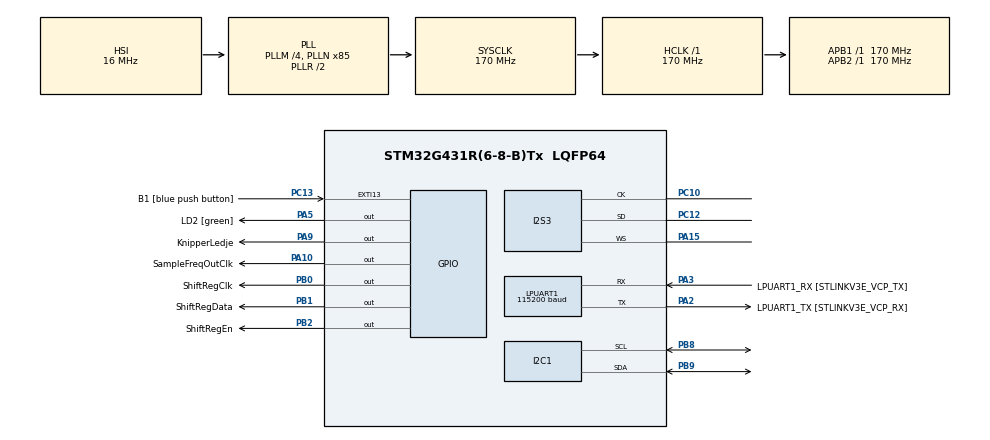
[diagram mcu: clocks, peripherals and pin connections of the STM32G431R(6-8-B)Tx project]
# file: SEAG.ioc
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Dma.Request0=SPI3_RX
Dma.SPI3_RX.0.Direction=DMA_PERIPH_TO_MEMORY
Dma.SPI3_RX.0.EventEnable=DISABLE
Dma.SPI3_RX.0.Instance=DMA1_Channel1
Dma.SPI3_RX.0.MemDataAlignment=DMA_MDATAALIGN_WORD
Dma.SPI3_RX.0.MemInc=DMA_MINC_ENABLE
Dma.SPI3_RX.0.Mode=DMA_CIRCULAR
Dma.SPI3_RX.0.PeriphDataAlignment=DMA_PDATAALIGN_WORD
Dma.SPI3_RX.0.PeriphInc=DMA_PINC_DISABLE
Dma.SPI3_RX.0.Polarity=HAL_DMAMUX_REQ_GEN_RISING
Dma.SPI3_RX.0.Priority=DMA_PRIORITY_VERY_HIGH
Dma.SPI3_RX.0.RequestNumber=1
Dma.SPI3_RX.0.SignalID=NONE
Dma.SPI3_RX.0.SyncEnable=DISABLE
Dma.SPI3_RX.0.SyncPolarity=HAL_DMAMUX_SYNC_NO_EVENT
Dma.SPI3_RX.0.SyncRequestNumber=1
Dma.SPI3_RX.0.SyncSignalID=NONE
I2C1.I2C_Fall_Time=0
I2C1.I2C_Rise_Time=0
I2C1.Timing=0x30A0A7FB
I2S3.AudioFreq=I2S_AUDIOFREQ_44K
I2S3.CPOL=I2S_CPOL_LOW
I2S3.DataFormat=I2S_DATAFORMAT_24B
I2S3.ErrorAudioFreq=0.61 %
I2S3.FullDuplexMode=I2S_FULLDUPLEXMODE_DISABLE
I2S3.Instance=SPI$Index
I2S3.Mode=I2S_MODE_MASTER_RX
I2S3.RealAudioFreq=44.27 KHz
I2S3.VirtualMode=I2S_MODE_MASTER
LPUART1.BaudRate=115200
LPUART1.WordLength=UART_WORDLENGTH_8B
Mcu.Family=STM32G4
Mcu.Name=STM32G431R(6-8-B)Tx
Mcu.Package=LQFP64
NVIC.DMA1_Channel1_IRQn=true\:0\:0\:false\:false\:true\:false\:true\:true
NVIC.PriorityGroup=NVIC_PRIORITYGROUP_4
PA10.GPIO_Label=SampleFreqOutClk
PA10.Signal=GPIO_Output
PA13.GPIO_Label=T_SWDIO
PA13.Mode=Serial_Wire
PA13.Signal=SYS_JTMS-SWDIO
PA14.GPIO_Label=T_SWCLK
PA14.Mode=Serial_Wire
PA14.Signal=SYS_JTCK-SWCLK
PA15.Mode=Half_Duplex_Master
PA15.Signal=I2S3_WS
PA2.GPIO_Label=LPUART1_TX [STLINKV3E_VCP_RX]
PA2.Mode=Asynchronous
PA2.Signal=LPUART1_TX
PA3.GPIO_Label=LPUART1_RX [STLINKV3E_VCP_TX]
PA3.Mode=Asynchronous
PA3.Signal=LPUART1_RX
PA5.GPIO_Label=LD2 [green]
PA5.Signal=GPIO_Output
PA9.GPIO_Label=KnipperLedje
PA9.Signal=GPIO_Output
PB0.GPIO_Label=ShiftRegClk
PB0.Signal=GPIO_Output
PB1.GPIO_Label=ShiftRegData
PB1.Signal=GPIO_Output
PB2.GPIO_Label=ShiftRegEn
PB2.Signal=GPIO_Output
PB8-BOOT0.Mode=I2C
PB8-BOOT0.Signal=I2C1_SCL
PB9.Mode=I2C
PB9.Signal=I2C1_SDA
PC10.Mode=Half_Duplex_Master
PC10.Signal=I2S3_CK
PC12.Mode=Half_Duplex_Master
PC12.Signal=I2S3_SD
PC13.GPIO_Label=B1 [blue push button]
PC13.Signal=GPXTI13
PC14-OSC32_IN.Mode=LSE-External-Oscillator
PC14-OSC32_IN.Signal=RCC_OSC32_IN
PC15-OSC32_OUT.Mode=LSE-External-Oscillator
PC15-OSC32_OUT.Signal=RCC_OSC32_OUT
PF0-OSC_IN.Mode=HSE-External-Oscillator
PF0-OSC_IN.Signal=RCC_OSC_IN
PF1-OSC_OUT.Mode=HSE-External-Oscillator
PF1-OSC_OUT.Signal=RCC_OSC_OUT
ProjectManager.HeapSize=0x200
ProjectManager.StackSize=0x400
ProjectManager.TargetToolchain=STM32CubeIDE
RCC.ADC12Freq_Value=170000000
RCC.AHBFreq_Value=170000000
RCC.APB1Freq_Value=170000000
RCC.APB1TimFreq_Value=170000000
RCC.APB2Freq_Value=170000000
RCC.APB2TimFreq_Value=170000000
RCC.CortexFreq_Value=170000000
RCC.EXTERNAL_CLOCK_VALUE=12288000
RCC.HCLKFreq_Value=170000000
RCC.HSE_VALUE=24000000
RCC.HSI48_VALUE=48000000
RCC.HSI_VALUE=16000000
RCC.PLLM=RCC_PLLM_DIV4
RCC.PLLN=85
RCC.RTCClockSelection=RCC_RTCCLKSOURCE_LSE
RCC.SYSCLKFreq_VALUE=170000000
RCC.SYSCLKSource=RCC_SYSCLKSOURCE_PLLCLK
RCC.USBFreq_Value=170000000
RCC.VCOOutputFreq_Value=340000000
TIM6.PeriodNoDither=3864
TIM6.TIM_MasterOutputTrigger=TIM_TRGO_UPDATE
VP_SYS_VS_DBSignals.Mode=DisableDeadBatterySignals
VP_TIM6_VS_ClockSourceINT.Mode=Enable_Timer
board=NUCLEO-G431RB

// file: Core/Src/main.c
/* USER CODE BEGIN Header */
/**
  ******************************************************************************
  * @file           : main.c
  * @brief          : Main program body
  ******************************************************************************
  * @attention
  *
  * Copyright (c) 2024 STMicroelectronics.
  * All rights reserved.
  *
  * This software is licensed under terms that can be found in the LICENSE file
  * in the root directory of this software component.
  * If no LICENSE file comes with this software, it is provided AS-IS.
  *
  ******************************************************************************
  */
/* USER CODE END Header */
#include "main.h"

/* USER CODE BEGIN Includes */

/*kan seppe pushen wie weet */

/* USER CODE END Includes */

/* USER CODE BEGIN PD */

#define AUDIO_BUFFER_SIZE 128

/* USER CODE END PD */

I2C_HandleTypeDef hi2c1;

I2S_HandleTypeDef hi2s3;
DMA_HandleTypeDef hdma_spi3_rx;

UART_HandleTypeDef hlpuart1;

TIM_HandleTypeDef htim6;

/* USER CODE BEGIN PV */

SampleType adcBuf[AUDIO_BUFFER_SIZE];
SampleType dacBuf[AUDIO_BUFFER_SIZE];

static volatile SampleType *inBufPointer;
static volatile SampleType *outBufPointer = &dacBuf[0];

uint8_t dataReadyFlag;
/* USER CODE END PV */

void SystemClock_Config(void);
static void MX_GPIO_Init(void);
static void MX_DMA_Init(void);
static void MX_LPUART1_UART_Init(void);
static void MX_TIM6_Init(void);
static void MX_I2C1_Init(void);
static void MX_I2S3_Init(void);

/* USER CODE BEGIN 0 */

void processBuffer(const SampleType* input, SampleType* output, size_t bufferLength) {
    for (int i = 0; i < bufferLength; i++) {
        //output[i] = i;
        // output[i] = (uint16_t)(((float)(input[i])) / 4095.0f * 227.0f);
    }
}

//Called when first half of buffer is filled
void HAL_I2S_RxHalfCpltCallback(I2S_HandleTypeDef *hi2s){

	inBufPointer = &adcBuf[0];
	outBufPointer = &dacBuf[0];

	processBuffer(adcBuf, dacBuf, AUDIO_BUFFER_SIZE/2);

	//HAL_GPIO_TogglePin(SampleFreqOutClk_GPIO_Port, SampleFreqOutClk_Pin);

	dataReadyFlag = 1;

}

void HAL_I2S_RxCpltCallback(I2S_HandleTypeDef *hi2s){

	inBufPointer = &adcBuf[AUDIO_BUFFER_SIZE/2];
	outBufPointer = &dacBuf[AUDIO_BUFFER_SIZE/2];

	//processBuffer((SampleType*)(adcBuf+AUDIO_BUFFER_SIZE/2), (SampleType*)(dacBuf+AUDIO_BUFFER_SIZE/2), AUDIO_BUFFER_SIZE/2);
	//HAL_GPIO_TogglePin(SampleFreqOutClk_GPIO_Port, SampleFreqOutClk_Pin);

	dataReadyFlag = 1;
}

/* USER CODE END 0 */

int main(void)
{

  /* MCU Configuration--------------------------------------------------------*/

  /* Reset of all peripherals, Initializes the Flash interface and the Systick. */
  HAL_Init();

  /* Configure the system clock */
  SystemClock_Config();

  /* USER CODE BEGIN SysInit */

  __enable_irq();
  //hdac1.State = HAL_DAC_STATE_RESET;

  /* USER CODE END SysInit */

  /* Initialize all configured peripherals */
  MX_GPIO_Init();
  MX_DMA_Init();
  MX_LPUART1_UART_Init();
  MX_TIM6_Init();
  MX_I2C1_Init();
  MX_I2S3_Init();
  /* USER CODE BEGIN 2 */

  HAL_TIM_Base_Start(&htim6);

  InitDSP();

  CodecInit(&hi2c1);

  for(int i = 0; i < AUDIO_BUFFER_SIZE;i++){
	  dacBuf[i] = i;
  }

  HAL_Delay(1);

  HAL_I2S_Receive_DMA(&hi2s3, (uint16_t*)&adcBuf[0], AUDIO_BUFFER_SIZE/2);
  //HAL_I2S_Transmit_DMA(&hi2s3, (uint16_t*)&dacBuf[0], AUDIO_BUFFER_SIZE);

  /* USER CODE END 2 */

  /* Infinite loop */
  /* USER CODE BEGIN WHILE */
  while (1)
  {

	  //HAL_GPIO_TogglePin(LD2_GPIO_Port, LD2_Pin);
	  //HAL_GPIO_TogglePin(KnipperLedje_GPIO_Port, KnipperLedje_Pin);

      //uint16_t timerValue = __HAL_TIM_GET_COUNTER(&htim16);

      //float sinVal = (sin( (float)timerValue/3863*2*M_PI)+1)/2 *3.3;
      //uint32_t dacOutput = (uint32_t)(sinVal*4096)/3.3;

      //HAL_DAC_SetValue(&hdac1, DAC_CHANNEL_1, DAC_ALIGN_12B_R, 2048);
      //DAC1->DHR12R1 = dacOutput;
	  //uint16_t data = 0x55;

      /*
      if(timerValue == 0){

    	  TimerCallback(&hadc1, &hlpuart1, &hdac1);

    	  //sprintf(msg, "%hu\r\n", timerValue);
    	  //HAL_UART_Transmit(&hlpuart1, (uint8_t*)msg, strlen(msg), HAL_MAX_DELAY);

		  //sprintf(msg, "%d\n", (int)dacOutput);
		  //HAL_UART_Transmit(&hlpuart1, (uint8_t*)msg, strlen(msg), HAL_MAX_DELAY);

      }
       */

    /* USER CODE END WHILE */

  }
}

void SystemClock_Config(void)
{
  RCC_OscInitTypeDef RCC_OscInitStruct = {0};
  RCC_ClkInitTypeDef RCC_ClkInitStruct = {0};

  /** Configure the main internal regulator output voltage
  */
  HAL_PWREx_ControlVoltageScaling(PWR_REGULATOR_VOLTAGE_SCALE1_BOOST);

  /** Initializes the RCC Oscillators according to the specified parameters
  * in the RCC_OscInitTypeDef structure.
  */
  RCC_OscInitStruct.OscillatorType = RCC_OSCILLATORTYPE_HSI;
  RCC_OscInitStruct.HSIState = RCC_HSI_ON;
  RCC_OscInitStruct.HSICalibrationValue = RCC_HSICALIBRATION_DEFAULT;
  RCC_OscInitStruct.PLL.PLLState = RCC_PLL_ON;
  RCC_OscInitStruct.PLL.PLLSource = RCC_PLLSOURCE_HSI;
  RCC_OscInitStruct.PLL.PLLM = RCC_PLLM_DIV4;
  RCC_OscInitStruct.PLL.PLLN = 85;
  RCC_OscInitStruct.PLL.PLLP = RCC_PLLP_DIV2;
  RCC_OscInitStruct.PLL.PLLQ = RCC_PLLQ_DIV2;
  RCC_OscInitStruct.PLL.PLLR = RCC_PLLR_DIV2;
  if (HAL_RCC_OscConfig(&RCC_OscInitStruct) != HAL_OK)
  {
    Error_Handler();
  }

  /** Initializes the CPU, AHB and APB buses clocks
  */
  RCC_ClkInitStruct.ClockType = RCC_CLOCKTYPE_HCLK|RCC_CLOCKTYPE_SYSCLK
                              |RCC_CLOCKTYPE_PCLK1|RCC_CLOCKTYPE_PCLK2;
  RCC_ClkInitStruct.SYSCLKSource = RCC_SYSCLKSOURCE_PLLCLK;
  RCC_ClkInitStruct.AHBCLKDivider = RCC_SYSCLK_DIV1;
  RCC_ClkInitStruct.APB1CLKDivider = RCC_HCLK_DIV1;
  RCC_ClkInitStruct.APB2CLKDivider = RCC_HCLK_DIV1;

  if (HAL_RCC_ClockConfig(&RCC_ClkInitStruct, FLASH_LATENCY_4) != HAL_OK)
  {
    Error_Handler();
  }
}

static void MX_I2C1_Init(void)
{

  hi2c1.Instance = I2C1;
  hi2c1.Init.Timing = 0x30A0A7FB;
  hi2c1.Init.OwnAddress1 = 0;
  hi2c1.Init.AddressingMode = I2C_ADDRESSINGMODE_7BIT;
  hi2c1.Init.DualAddressMode = I2C_DUALADDRESS_DISABLE;
  hi2c1.Init.OwnAddress2 = 0;
  hi2c1.Init.OwnAddress2Masks = I2C_OA2_NOMASK;
  hi2c1.Init.GeneralCallMode = I2C_GENERALCALL_DISABLE;
  hi2c1.Init.NoStretchMode = I2C_NOSTRETCH_DISABLE;
  if (HAL_I2C_Init(&hi2c1) != HAL_OK)
  {
    Error_Handler();
  }

  /** Configure Analogue filter
  */
  if (HAL_I2CEx_ConfigAnalogFilter(&hi2c1, I2C_ANALOGFILTER_ENABLE) != HAL_OK)
  {
    Error_Handler();
  }

  /** Configure Digital filter
  */
  if (HAL_I2CEx_ConfigDigitalFilter(&hi2c1, 0) != HAL_OK)
  {
    Error_Handler();
  }

}

static void MX_I2S3_Init(void)
{

  hi2s3.Instance = SPI3;
  hi2s3.Init.Mode = I2S_MODE_MASTER_RX;
  hi2s3.Init.Standard = I2S_STANDARD_PHILIPS;
  hi2s3.Init.DataFormat = I2S_DATAFORMAT_24B;
  hi2s3.Init.MCLKOutput = I2S_MCLKOUTPUT_DISABLE;
  hi2s3.Init.AudioFreq = I2S_AUDIOFREQ_44K;
  hi2s3.Init.CPOL = I2S_CPOL_LOW;
  if (HAL_I2S_Init(&hi2s3) != HAL_OK)
  {
    Error_Handler();
  }

}

static void MX_LPUART1_UART_Init(void)
{

  hlpuart1.Instance = LPUART1;
  hlpuart1.Init.BaudRate = 115200;
  hlpuart1.Init.WordLength = UART_WORDLENGTH_8B;
  hlpuart1.Init.StopBits = UART_STOPBITS_1;
  hlpuart1.Init.Parity = UART_PARITY_NONE;
  hlpuart1.Init.Mode = UART_MODE_TX_RX;
  hlpuart1.Init.HwFlowCtl = UART_HWCONTROL_NONE;
  hlpuart1.Init.OneBitSampling = UART_ONE_BIT_SAMPLE_DISABLE;
  hlpuart1.Init.ClockPrescaler = UART_PRESCALER_DIV1;
  hlpuart1.AdvancedInit.AdvFeatureInit = UART_ADVFEATURE_NO_INIT;
  if (HAL_UART_Init(&hlpuart1) != HAL_OK)
  {
    Error_Handler();
  }
  if (HAL_UARTEx_SetTxFifoThreshold(&hlpuart1, UART_TXFIFO_THRESHOLD_1_8) != HAL_OK)
  {
    Error_Handler();
  }
  if (HAL_UARTEx_SetRxFifoThreshold(&hlpuart1, UART_RXFIFO_THRESHOLD_1_8) != HAL_OK)
  {
    Error_Handler();
  }
  if (HAL_UARTEx_DisableFifoMode(&hlpuart1) != HAL_OK)
  {
    Error_Handler();
  }

}

static void MX_TIM6_Init(void)
{

  TIM_MasterConfigTypeDef sMasterConfig = {0};

  htim6.Instance = TIM6;
  htim6.Init.Prescaler = 0;
  htim6.Init.CounterMode = TIM_COUNTERMODE_UP;
  htim6.Init.Period = 3864;
  htim6.Init.AutoReloadPreload = TIM_AUTORELOAD_PRELOAD_DISABLE;
  if (HAL_TIM_Base_Init(&htim6) != HAL_OK)
  {
    Error_Handler();
  }
  sMasterConfig.MasterOutputTrigger = TIM_TRGO_UPDATE;
  sMasterConfig.MasterSlaveMode = TIM_MASTERSLAVEMODE_DISABLE;
  if (HAL_TIMEx_MasterConfigSynchronization(&htim6, &sMasterConfig) != HAL_OK)
  {
    Error_Handler();
  }
  /* USER CODE BEGIN TIM6_Init 2 */
  htim6.Init.Period = 170E6/samplingRate;
  /* USER CODE END TIM6_Init 2 */

}

static void MX_DMA_Init(void)
{

  /* DMA controller clock enable */
  __HAL_RCC_DMAMUX1_CLK_ENABLE();
  __HAL_RCC_DMA1_CLK_ENABLE();

  /* DMA interrupt init */
  /* DMA1_Channel1_IRQn interrupt configuration */
  HAL_NVIC_SetPriority(DMA1_Channel1_IRQn, 0, 0);
  HAL_NVIC_EnableIRQ(DMA1_Channel1_IRQn);

}

static void MX_GPIO_Init(void)
{
  GPIO_InitTypeDef GPIO_InitStruct = {0};

  /* GPIO Ports Clock Enable */
  __HAL_RCC_GPIOC_CLK_ENABLE();
  __HAL_RCC_GPIOF_CLK_ENABLE();
  __HAL_RCC_GPIOA_CLK_ENABLE();
  __HAL_RCC_GPIOB_CLK_ENABLE();

  /*Configure GPIO pin Output Level */
  HAL_GPIO_WritePin(GPIOA, LD2_Pin|KnipperLedje_Pin|SampleFreqOutClk_Pin, GPIO_PIN_RESET);

  /*Configure GPIO pin Output Level */
  HAL_GPIO_WritePin(GPIOB, ShiftRegClk_Pin|ShiftRegData_Pin|ShiftRegEn_Pin, GPIO_PIN_RESET);

  /*Configure GPIO pin : B1_Pin */
  GPIO_InitStruct.Pin = B1_Pin;
  GPIO_InitStruct.Mode = GPIO_MODE_IT_RISING;
  GPIO_InitStruct.Pull = GPIO_NOPULL;
  HAL_GPIO_Init(B1_GPIO_Port, &GPIO_InitStruct);

  /*Configure GPIO pins : LD2_Pin KnipperLedje_Pin SampleFreqOutClk_Pin */
  GPIO_InitStruct.Pin = LD2_Pin|KnipperLedje_Pin|SampleFreqOutClk_Pin;
  GPIO_InitStruct.Mode = GPIO_MODE_OUTPUT_PP;
  GPIO_InitStruct.Pull = GPIO_NOPULL;
  GPIO_InitStruct.Speed = GPIO_SPEED_FREQ_LOW;
  HAL_GPIO_Init(GPIOA, &GPIO_InitStruct);

  /*Configure GPIO pins : ShiftRegClk_Pin ShiftRegData_Pin ShiftRegEn_Pin */
  GPIO_InitStruct.Pin = ShiftRegClk_Pin|ShiftRegData_Pin|ShiftRegEn_Pin;
  GPIO_InitStruct.Mode = GPIO_MODE_OUTPUT_PP;
  GPIO_InitStruct.Pull = GPIO_NOPULL;
  GPIO_InitStruct.Speed = GPIO_SPEED_FREQ_LOW;
  HAL_GPIO_Init(GPIOB, &GPIO_InitStruct);

}

void Error_Handler(void)
{
  __disable_irq();
  while (1)
  {
  }
}
